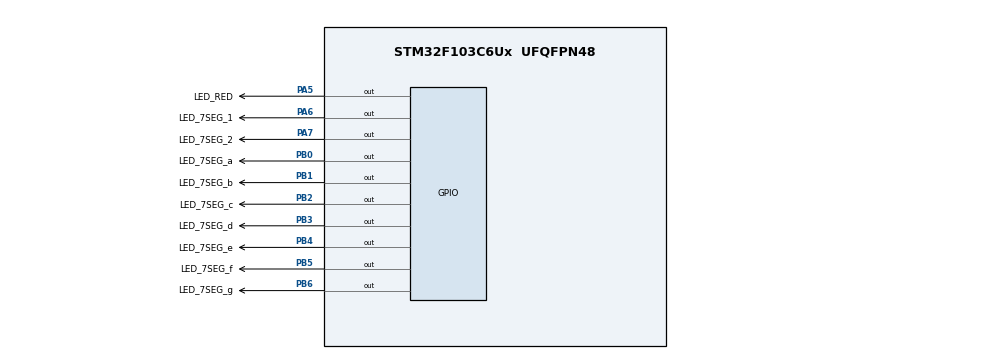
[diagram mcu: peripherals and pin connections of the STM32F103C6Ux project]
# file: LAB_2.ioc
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Mcu.Family=STM32F1
Mcu.Name=STM32F103C6Ux
Mcu.Package=UFQFPN48
NVIC.PriorityGroup=NVIC_PRIORITYGROUP_4
NVIC.TIM2_IRQn=true\:0\:0\:false\:false\:true\:true\:true
PA5.GPIO_Label=LED_RED
PA5.Signal=GPIO_Output
PA6.GPIO_Label=LED_7SEG_1
PA6.Signal=GPIO_Output
PA7.GPIO_Label=LED_7SEG_2
PA7.Signal=GPIO_Output
PB0.GPIO_Label=LED_7SEG_a
PB0.Signal=GPIO_Output
PB1.GPIO_Label=LED_7SEG_b
PB1.Signal=GPIO_Output
PB2.GPIO_Label=LED_7SEG_c
PB2.Signal=GPIO_Output
PB3.GPIO_Label=LED_7SEG_d
PB3.Signal=GPIO_Output
PB4.GPIO_Label=LED_7SEG_e
PB4.Signal=GPIO_Output
PB5.GPIO_Label=LED_7SEG_f
PB5.Signal=GPIO_Output
PB6.GPIO_Label=LED_7SEG_g
PB6.Signal=GPIO_Output
ProjectManager.HeapSize=0x200
ProjectManager.StackSize=0x400
ProjectManager.TargetToolchain=STM32CubeIDE
RCC.APB1Freq_Value=8000000
RCC.APB2Freq_Value=8000000
TIM2.Period=9
TIM2.Prescaler=7999
VP_SYS_VS_ND.Mode=No_Debug
VP_TIM2_VS_ClockSourceINT.Mode=Internal
board=custom

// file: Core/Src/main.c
/* USER CODE BEGIN Header */
/**
  ******************************************************************************
  * @file           : main.c
  * @brief          : Main program body
  ******************************************************************************
  * @attention
  *
  * <h2><center>&copy; Copyright (c) 2025 STMicroelectronics.
  * All rights reserved.</center></h2>
  *
  * This software component is licensed by ST under BSD 3-Clause license,
  * the "License"; You may not use this file except in compliance with the
  * License. You may obtain a copy of the License at:
  *                        opensource.org/licenses/BSD-3-Clause
  *
  ******************************************************************************
  */
/* USER CODE END Header */
#include "main.h"

TIM_HandleTypeDef htim2;

void SystemClock_Config(void);
static void MX_TIM2_Init(void);
static void MX_GPIO_Init(void);

int main(void)
{

  /* MCU Configuration--------------------------------------------------------*/

  /* Reset of all peripherals, Initializes the Flash interface and the Systick. */
  HAL_Init();

  /* Configure the system clock */
  SystemClock_Config();

  /* Initialize all configured peripherals */
  MX_TIM2_Init();
  MX_GPIO_Init();
  /* USER CODE BEGIN 2 */
  HAL_TIM_Base_Start_IT(&htim2);

  /* USER CODE END 2 */

  /* Infinite loop */
  while (1)
  {

  }
}

void SystemClock_Config(void)
{
  RCC_OscInitTypeDef RCC_OscInitStruct = {0};
  RCC_ClkInitTypeDef RCC_ClkInitStruct = {0};

  /** Initializes the RCC Oscillators according to the specified parameters
  * in the RCC_OscInitTypeDef structure.
  */
  RCC_OscInitStruct.OscillatorType = RCC_OSCILLATORTYPE_HSI;
  RCC_OscInitStruct.HSIState = RCC_HSI_ON;
  RCC_OscInitStruct.HSICalibrationValue = RCC_HSICALIBRATION_DEFAULT;
  RCC_OscInitStruct.PLL.PLLState = RCC_PLL_NONE;
  if (HAL_RCC_OscConfig(&RCC_OscInitStruct) != HAL_OK)
  {
    Error_Handler();
  }
  /** Initializes the CPU, AHB and APB buses clocks
  */
  RCC_ClkInitStruct.ClockType = RCC_CLOCKTYPE_HCLK|RCC_CLOCKTYPE_SYSCLK
                              |RCC_CLOCKTYPE_PCLK1|RCC_CLOCKTYPE_PCLK2;
  RCC_ClkInitStruct.SYSCLKSource = RCC_SYSCLKSOURCE_HSI;
  RCC_ClkInitStruct.AHBCLKDivider = RCC_SYSCLK_DIV1;
  RCC_ClkInitStruct.APB1CLKDivider = RCC_HCLK_DIV1;
  RCC_ClkInitStruct.APB2CLKDivider = RCC_HCLK_DIV1;

  if (HAL_RCC_ClockConfig(&RCC_ClkInitStruct, FLASH_LATENCY_0) != HAL_OK)
  {
    Error_Handler();
  }
}

static void MX_TIM2_Init(void)
{

  TIM_ClockConfigTypeDef sClockSourceConfig = {0};
  TIM_MasterConfigTypeDef sMasterConfig = {0};

  htim2.Instance = TIM2;
  htim2.Init.Prescaler = 7999;
  htim2.Init.CounterMode = TIM_COUNTERMODE_UP;
  htim2.Init.Period = 9;
  htim2.Init.ClockDivision = TIM_CLOCKDIVISION_DIV1;
  htim2.Init.AutoReloadPreload = TIM_AUTORELOAD_PRELOAD_DISABLE;
  if (HAL_TIM_Base_Init(&htim2) != HAL_OK)
  {
    Error_Handler();
  }
  sClockSourceConfig.ClockSource = TIM_CLOCKSOURCE_INTERNAL;
  if (HAL_TIM_ConfigClockSource(&htim2, &sClockSourceConfig) != HAL_OK)
  {
    Error_Handler();
  }
  sMasterConfig.MasterOutputTrigger = TIM_TRGO_RESET;
  sMasterConfig.MasterSlaveMode = TIM_MASTERSLAVEMODE_DISABLE;
  if (HAL_TIMEx_MasterConfigSynchronization(&htim2, &sMasterConfig) != HAL_OK)
  {
    Error_Handler();
  }

}

static void MX_GPIO_Init(void)
{
  GPIO_InitTypeDef GPIO_InitStruct = {0};

  /* GPIO Ports Clock Enable */
  __HAL_RCC_GPIOA_CLK_ENABLE();
  __HAL_RCC_GPIOB_CLK_ENABLE();

  /*Configure GPIO pin Output Level */
  HAL_GPIO_WritePin(GPIOA, LED_RED_Pin|LED_7SEG_1_Pin|LED_7SEG_2_Pin, GPIO_PIN_SET);

  /*Configure GPIO pin Output Level */
  HAL_GPIO_WritePin(GPIOB, LED_7SEG_a_Pin|LED_7SEG_b_Pin|LED_7SEG_c_Pin|LED_7SEG_d_Pin
                          |LED_7SEG_e_Pin|LED_7SEG_f_Pin|LED_7SEG_g_Pin, GPIO_PIN_RESET);

  /*Configure GPIO pins : LED_RED_Pin LED_7SEG_1_Pin LED_7SEG_2_Pin */
  GPIO_InitStruct.Pin = LED_RED_Pin|LED_7SEG_1_Pin|LED_7SEG_2_Pin;
  GPIO_InitStruct.Mode = GPIO_MODE_OUTPUT_PP;
  GPIO_InitStruct.Pull = GPIO_NOPULL;
  GPIO_InitStruct.Speed = GPIO_SPEED_FREQ_LOW;
  HAL_GPIO_Init(GPIOA, &GPIO_InitStruct);

  /*Configure GPIO pins : LED_7SEG_a_Pin LED_7SEG_b_Pin LED_7SEG_c_Pin LED_7SEG_d_Pin
                           LED_7SEG_e_Pin LED_7SEG_f_Pin LED_7SEG_g_Pin */
  GPIO_InitStruct.Pin = LED_7SEG_a_Pin|LED_7SEG_b_Pin|LED_7SEG_c_Pin|LED_7SEG_d_Pin
                          |LED_7SEG_e_Pin|LED_7SEG_f_Pin|LED_7SEG_g_Pin;
  GPIO_InitStruct.Mode = GPIO_MODE_OUTPUT_PP;
  GPIO_InitStruct.Pull = GPIO_NOPULL;
  GPIO_InitStruct.Speed = GPIO_SPEED_FREQ_LOW;
  HAL_GPIO_Init(GPIOB, &GPIO_InitStruct);

}

/* USER CODE BEGIN 4 */
int counter = 100;//led_red toggle per second
//ex1
int counter1 = 50;
int status = 1; //1 = 7SEG1, 2 = 7SEG2
void HAL_TIM_PeriodElapsedCallback(TIM_HandleTypeDef *htim){
	//led_red toggle per second
	if(counter > 0)
	{
		counter--;
		if(counter <= 0)
		{
			counter = 100;
			HAL_GPIO_TogglePin(LED_RED_GPIO_Port, LED_RED_Pin);
		}
	}
	//ex1
	if(counter1 > 0)
	{
		counter1--;
		if(counter1 <= 0)
		{
			counter1 = 50;
			clear7SEG();//clear previous status
			switch(status){
			case 1://led 1
				HAL_GPIO_WritePin(LED_7SEG_1_GPIO_Port, LED_7SEG_1_Pin, RESET);// turn on led 7seg1
				HAL_GPIO_WritePin(LED_7SEG_2_GPIO_Port, LED_7SEG_2_Pin, SET);//turn off led 7seg2
				status = 2;
				display7SEG(1);
				break;
			case 2://led 2
				HAL_GPIO_WritePin(LED_7SEG_1_GPIO_Port, LED_7SEG_1_Pin, SET); //turn on led 7seg1
				HAL_GPIO_WritePin(LED_7SEG_2_GPIO_Port, LED_7SEG_2_Pin, RESET);//turn off led 7seg2
				status = 1;
				display7SEG(2);
				break;
			default:
				clear7SEG();
				break;
			}
		}
	}

}
void clear7SEG(){
	HAL_GPIO_WritePin(LED_7SEG_a_GPIO_Port, LED_7SEG_a_Pin, SET);
	HAL_GPIO_WritePin(LED_7SEG_a_GPIO_Port, LED_7SEG_a_Pin, SET);
	HAL_GPIO_WritePin(LED_7SEG_b_GPIO_Port, LED_7SEG_b_Pin, SET);
	HAL_GPIO_WritePin(LED_7SEG_c_GPIO_Port, LED_7SEG_c_Pin, SET);
	HAL_GPIO_WritePin(LED_7SEG_d_GPIO_Port, LED_7SEG_d_Pin, SET);
	HAL_GPIO_WritePin(LED_7SEG_e_GPIO_Port, LED_7SEG_e_Pin, SET);
	HAL_GPIO_WritePin(LED_7SEG_f_GPIO_Port, LED_7SEG_f_Pin, SET);
	HAL_GPIO_WritePin(LED_7SEG_g_GPIO_Port, LED_7SEG_g_Pin, SET);
}
void display7SEG(int num){
	switch (num)
	{
	case 0:
		HAL_GPIO_WritePin(LED_7SEG_a_GPIO_Port, LED_7SEG_a_Pin, RESET);
		HAL_GPIO_WritePin(LED_7SEG_b_GPIO_Port, LED_7SEG_b_Pin, RESET);
		HAL_GPIO_WritePin(LED_7SEG_c_GPIO_Port, LED_7SEG_c_Pin, RESET);
		HAL_GPIO_WritePin(LED_7SEG_d_GPIO_Port, LED_7SEG_d_Pin, RESET);
		HAL_GPIO_WritePin(LED_7SEG_e_GPIO_Port, LED_7SEG_e_Pin, RESET);
		HAL_GPIO_WritePin(LED_7SEG_f_GPIO_Port, LED_7SEG_f_Pin, RESET);
		HAL_GPIO_WritePin(LED_7SEG_g_GPIO_Port, LED_7SEG_g_Pin, SET);
		break;
	case 1:
		HAL_GPIO_WritePin(LED_7SEG_a_GPIO_Port, LED_7SEG_a_Pin, SET);
		HAL_GPIO_WritePin(LED_7SEG_b_GPIO_Port, LED_7SEG_b_Pin, RESET);
		HAL_GPIO_WritePin(LED_7SEG_c_GPIO_Port, LED_7SEG_c_Pin, RESET);
		HAL_GPIO_WritePin(LED_7SEG_d_GPIO_Port, LED_7SEG_d_Pin, SET);
		HAL_GPIO_WritePin(LED_7SEG_e_GPIO_Port, LED_7SEG_e_Pin, SET);
		HAL_GPIO_WritePin(LED_7SEG_f_GPIO_Port, LED_7SEG_f_Pin, SET);
		HAL_GPIO_WritePin(LED_7SEG_g_GPIO_Port, LED_7SEG_g_Pin, SET);
		break;
	case 2:
		HAL_GPIO_WritePin(LED_7SEG_a_GPIO_Port, LED_7SEG_a_Pin, RESET);
		HAL_GPIO_WritePin(LED_7SEG_b_GPIO_Port, LED_7SEG_b_Pin, RESET);
		HAL_GPIO_WritePin(LED_7SEG_c_GPIO_Port, LED_7SEG_c_Pin, SET);
		HAL_GPIO_WritePin(LED_7SEG_d_GPIO_Port, LED_7SEG_d_Pin, RESET);
		HAL_GPIO_WritePin(LED_7SEG_e_GPIO_Port, LED_7SEG_e_Pin, RESET);
		HAL_GPIO_WritePin(LED_7SEG_f_GPIO_Port, LED_7SEG_f_Pin, SET);
		HAL_GPIO_WritePin(LED_7SEG_g_GPIO_Port, LED_7SEG_g_Pin, RESET);
		break;
	case 3:
		HAL_GPIO_WritePin(LED_7SEG_a_GPIO_Port, LED_7SEG_a_Pin, RESET);
		HAL_GPIO_WritePin(LED_7SEG_b_GPIO_Port, LED_7SEG_b_Pin, RESET);
		HAL_GPIO_WritePin(LED_7SEG_c_GPIO_Port, LED_7SEG_c_Pin, RESET);
		HAL_GPIO_WritePin(LED_7SEG_d_GPIO_Port, LED_7SEG_d_Pin, RESET);
		HAL_GPIO_WritePin(LED_7SEG_e_GPIO_Port, LED_7SEG_e_Pin, SET);
		HAL_GPIO_WritePin(LED_7SEG_f_GPIO_Port, LED_7SEG_f_Pin, SET);
		HAL_GPIO_WritePin(LED_7SEG_g_GPIO_Port, LED_7SEG_g_Pin, RESET);
		break;
	case 4:
		HAL_GPIO_WritePin(LED_7SEG_a_GPIO_Port, LED_7SEG_a_Pin, SET);
		HAL_GPIO_WritePin(LED_7SEG_b_GPIO_Port, LED_7SEG_b_Pin, RESET);
		HAL_GPIO_WritePin(LED_7SEG_c_GPIO_Port, LED_7SEG_c_Pin, RESET);
		HAL_GPIO_WritePin(LED_7SEG_d_GPIO_Port, LED_7SEG_d_Pin, SET);
		HAL_GPIO_WritePin(LED_7SEG_e_GPIO_Port, LED_7SEG_e_Pin, SET);
		HAL_GPIO_WritePin(LED_7SEG_f_GPIO_Port, LED_7SEG_f_Pin, RESET);
		HAL_GPIO_WritePin(LED_7SEG_g_GPIO_Port, LED_7SEG_g_Pin, RESET);
		break;
	case 5:
		HAL_GPIO_WritePin(LED_7SEG_a_GPIO_Port, LED_7SEG_a_Pin, RESET);
		HAL_GPIO_WritePin(LED_7SEG_b_GPIO_Port, LED_7SEG_b_Pin, SET);
		HAL_GPIO_WritePin(LED_7SEG_c_GPIO_Port, LED_7SEG_c_Pin, RESET);
		HAL_GPIO_WritePin(LED_7SEG_d_GPIO_Port, LED_7SEG_d_Pin, RESET);
		HAL_GPIO_WritePin(LED_7SEG_e_GPIO_Port, LED_7SEG_e_Pin, SET);
		HAL_GPIO_WritePin(LED_7SEG_f_GPIO_Port, LED_7SEG_f_Pin, RESET);
		HAL_GPIO_WritePin(LED_7SEG_g_GPIO_Port, LED_7SEG_g_Pin, RESET);
		break;
	case 6:
		HAL_GPIO_WritePin(LED_7SEG_a_GPIO_Port, LED_7SEG_a_Pin, RESET);
		HAL_GPIO_WritePin(LED_7SEG_b_GPIO_Port, LED_7SEG_b_Pin, SET);
		HAL_GPIO_WritePin(LED_7SEG_c_GPIO_Port, LED_7SEG_c_Pin, RESET);
		HAL_GPIO_WritePin(LED_7SEG_d_GPIO_Port, LED_7SEG_d_Pin, RESET);
		HAL_GPIO_WritePin(LED_7SEG_e_GPIO_Port, LED_7SEG_e_Pin, RESET);
		HAL_GPIO_WritePin(LED_7SEG_f_GPIO_Port, LED_7SEG_f_Pin, RESET);
		HAL_GPIO_WritePin(LED_7SEG_g_GPIO_Port, LED_7SEG_g_Pin, RESET);
		break;
	case 7:
		HAL_GPIO_WritePin(LED_7SEG_a_GPIO_Port, LED_7SEG_a_Pin, RESET);
		HAL_GPIO_WritePin(LED_7SEG_b_GPIO_Port, LED_7SEG_b_Pin, RESET);
		HAL_GPIO_WritePin(LED_7SEG_c_GPIO_Port, LED_7SEG_c_Pin, RESET);
		HAL_GPIO_WritePin(LED_7SEG_d_GPIO_Port, LED_7SEG_d_Pin, SET);
		HAL_GPIO_WritePin(LED_7SEG_e_GPIO_Port, LED_7SEG_e_Pin, SET);
		HAL_GPIO_WritePin(LED_7SEG_f_GPIO_Port, LED_7SEG_f_Pin, SET);
		HAL_GPIO_WritePin(LED_7SEG_g_GPIO_Port, LED_7SEG_g_Pin, SET);
		break;
	case 8:
		HAL_GPIO_WritePin(LED_7SEG_a_GPIO_Port, LED_7SEG_a_Pin, RESET);
		HAL_GPIO_WritePin(LED_7SEG_b_GPIO_Port, LED_7SEG_b_Pin, RESET);
		HAL_GPIO_WritePin(LED_7SEG_c_GPIO_Port, LED_7SEG_c_Pin, RESET);
		HAL_GPIO_WritePin(LED_7SEG_d_GPIO_Port, LED_7SEG_d_Pin, RESET);
		HAL_GPIO_WritePin(LED_7SEG_e_GPIO_Port, LED_7SEG_e_Pin, RESET);
		HAL_GPIO_WritePin(LED_7SEG_f_GPIO_Port, LED_7SEG_f_Pin, RESET);
		HAL_GPIO_WritePin(LED_7SEG_g_GPIO_Port, LED_7SEG_g_Pin, RESET);
		break;
	case 9:
		HAL_GPIO_WritePin(LED_7SEG_a_GPIO_Port, LED_7SEG_a_Pin, RESET);
		HAL_GPIO_WritePin(LED_7SEG_b_GPIO_Port, LED_7SEG_b_Pin, RESET);
		HAL_GPIO_WritePin(LED_7SEG_c_GPIO_Port, LED_7SEG_c_Pin, RESET);
		HAL_GPIO_WritePin(LED_7SEG_d_GPIO_Port, LED_7SEG_d_Pin, RESET);
		HAL_GPIO_WritePin(LED_7SEG_e_GPIO_Port, LED_7SEG_e_Pin, SET);
		HAL_GPIO_WritePin(LED_7SEG_f_GPIO_Port, LED_7SEG_f_Pin, RESET);
		HAL_GPIO_WritePin(LED_7SEG_g_GPIO_Port, LED_7SEG_g_Pin, RESET);
		break;
	default:
		break;
	}
}
/* USER CODE END 4 */

void Error_Handler(void)
{
  __disable_irq();
  while (1)
  {
  }
}

/************************ (C) COPYRIGHT STMicroelectronics *****END OF FILE****/
